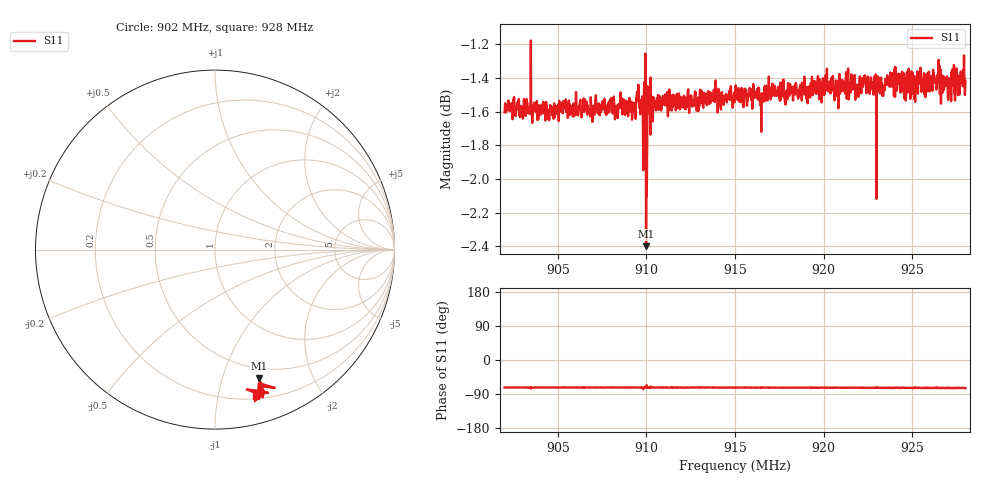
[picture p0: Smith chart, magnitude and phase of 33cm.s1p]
! Calibrated averaged scanner-service zoom
# Hz S RI R 50
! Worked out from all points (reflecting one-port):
!   2001 points, 902 MHz to 928 MHz, reference 50 ohm
!   lowest |S11| = -2.4 dB at 909.98 MHz (marker M1), VSWR 7.29, Z = 19.6 - j66.2 ohm
!   phase of S11 starts at -72 deg and turns -2 deg over the sweep
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9.02e8  0.2501 -0.793
9.03352e8  0.2502 -0.7958
9.0525e8  0.2513 -0.7947
9.085e8  0.2503 -0.7972
9.09267e8  0.2546 -0.7934
9.09449e8  0.2498 -0.8003
9.09644e8  0.2496 -0.7955
9.09722e8  0.2416 -0.803
9.09839e8  0.2113 -0.793
9.09917e8  0.2545 -0.7955
9.09982e8  0.2452 -0.7179
9.10112e8  0.2638 -0.7987
9.1019e8  0.2448 -0.8051
9.1045e8  0.2516 -0.7962
9.1175e8  0.2535 -0.7991
9.15e8  0.2486 -0.8042
9.1825e8  0.253 -0.8067
9.215e8  0.2445 -0.8124
9.21903e8  0.2411 -0.8086
9.22371e8  0.2447 -0.8141
9.23086e8  0.245 -0.8126
9.23606e8  0.2402 -0.8125
9.2475e8  0.2391 -0.8149
9.26076e8  0.2344 -0.814
9.26414e8  0.2431 -0.8173
9.26687e8  0.2422 -0.8157
9.27805e8  0.2421 -0.8146
9.28e8  0.2299 -0.8177
